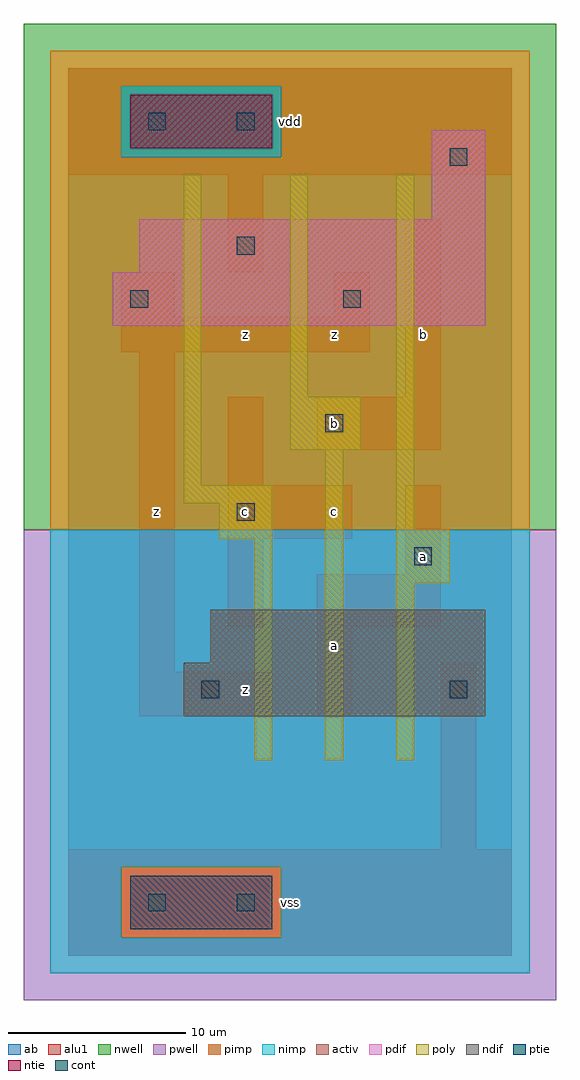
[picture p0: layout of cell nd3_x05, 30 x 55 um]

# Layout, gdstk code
import gdstk
lib = gdstk.Library(unit=1e-6, precision=1e-09)
def R(c, l, rs):  # rectangles x0, y0, x1, y1
    for r in rs: c.add(gdstk.rectangle(r[:2], r[2:], *l))
ndif = (3, 0)
pdif = (4, 0)
ntie = (5, 0)
ptie = (6, 0)
cont = (25, 0)
pwell = (41, 0)
nwell = (42, 0)
activ = (43, 0)
pimp = (44, 0)
nimp = (45, 0)
poly = (46, 0)
alu1 = (49, 0)
ab = (63, 0)

nd3_x05 = lib.new_cell('nd3_x05')
R(nd3_x05, ndif, [(6.5,13.5,23.5,16.5), (8,16.5,23.5,19.5)])
R(nd3_x05, pdif, [(2.5,35.5,23.5,38.5), (4,38.5,23.5,41.5), (20.5,41.5,23.5,46.5)])
R(nd3_x05, ntie, [(3.5,45.5,11.5,48.5)])
R(nd3_x05, ptie, [(3.5,1.5,11.5,4.5)])
R(nd3_x05, cont, [(4.5,2.5,5.5,3.5), (9.5,2.5,10.5,3.5), (7.5,14.5,8.5,15.5), (21.5,14.5,22.5,15.5), (19.5,22,20.5,23), (9.5,24.5,10.5,25.5), (14.5,29.5,15.5,30.5), (3.5,36.5,4.5,37.5), (15.5,36.5,16.5,37.5), (9.5,39.5,10.5,40.5), (21.5,44.5,22.5,45.5), (4.5,46.5,5.5,47.5), (9.5,46.5,10.5,47.5)])
R(nd3_x05, pwell, [(-2.5,-2.5,27.5,24)])
R(nd3_x05, nwell, [(-2.5,24,27.5,52.5)])
R(nd3_x05, activ, [(3.5,1.5,11.5,4.5), (6.5,13.5,23.5,16.5), (8,16.5,23.5,19.5), (2.5,35.5,23.5,38.5), (4,38.5,23.5,41.5), (20.5,41.5,23.5,46.5), (3.5,45.5,11.5,48.5)])
R(nd3_x05, pimp, [(3,1,12,5), (-1,24,26,45), (-1,45,3,49), (12,45,26,49), (-1,49,26,51)])
R(nd3_x05, nimp, [(-1,-1,26,1), (-1,1,3,5), (12,1,26,5), (-1,5,26,24), (3,45,12,49)])
R(nd3_x05, poly, [(10.5,11,11.5,23.5), (14.5,11,15.5,28.5), (18.5,11,19.5,21), (18.5,21,21.5,24), (8.5,23.5,11.5,25.5), (18.5,24,19.5,44), (6.5,25.5,11.5,26.5), (6.5,26.5,7.5,44), (12.5,28.5,16.5,31.5), (12.5,31.5,13.5,44)])
R(nd3_x05, alu1, [(0,0,25,6), (0,0,25,6), (21,6,23,16.5), (21,6,23,16.5), (4,13.5,11.5,16), (4,13.5,11.5,16), (14,13.5,16,18.5), (14,13.5,16,18.5), (4,16,6,34), (4,16,6,34), (9,18.5,11,23.5), (9,18.5,11,23.5), (14,18.5,21,21.5), (14,18.5,21,21.5), (19,21.5,21,26.5), (19,21.5,21,26.5), (9,23.5,16,26.5), (9,23.5,16,26.5), (9,26.5,11,31.5), (9,26.5,11,31.5), (14,28.5,21,31.5), (14,28.5,21,31.5), (19,31.5,21,41.5), (19,31.5,21,41.5), (3,34,17,36), (3,34,17,36), (3,36,6,38.5), (3,36,6,38.5), (15,36,17,38.5), (15,36,17,38.5), (9,38.5,11,44), (9,38.5,11,44), (0,44,25,50), (0,44,25,50)])
R(nd3_x05, ab, [(0,0,25,50)])
nd3_x05.add(gdstk.Label('z', (10,15), layer=49, texttype=0))
nd3_x05.add(gdstk.Label('c', (10,25), layer=49, texttype=0))
nd3_x05.add(gdstk.Label('z', (5,25), layer=49, texttype=0))
nd3_x05.add(gdstk.Label('z', (10,35), layer=49, texttype=0))
nd3_x05.add(gdstk.Label('vss', (12.5,3), layer=49, texttype=0))
nd3_x05.add(gdstk.Label('a', (15,17.5), layer=49, texttype=0))
nd3_x05.add(gdstk.Label('c', (15,25), layer=49, texttype=0))
nd3_x05.add(gdstk.Label('b', (15,30), layer=49, texttype=0))
nd3_x05.add(gdstk.Label('z', (15,35), layer=49, texttype=0))
nd3_x05.add(gdstk.Label('vdd', (12.5,47), layer=49, texttype=0))
nd3_x05.add(gdstk.Label('a', (20,22.5), layer=49, texttype=0))
nd3_x05.add(gdstk.Label('b', (20,35), layer=49, texttype=0))

lib.write_gds('nd3_x05.gds')
